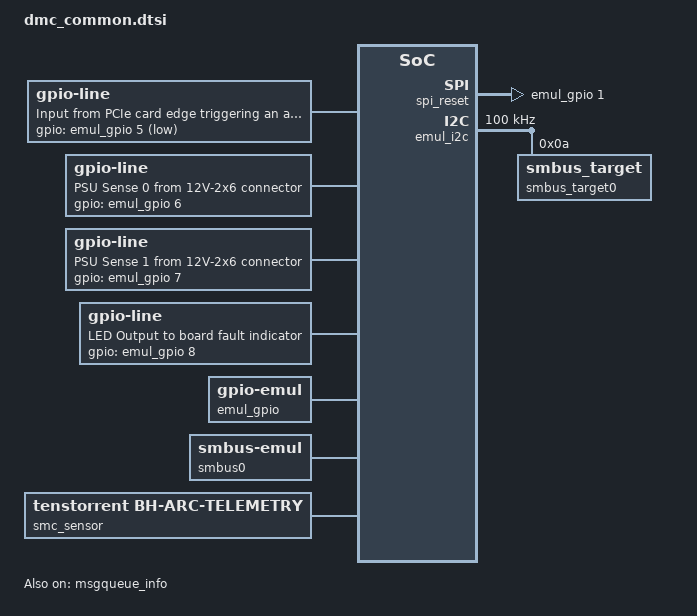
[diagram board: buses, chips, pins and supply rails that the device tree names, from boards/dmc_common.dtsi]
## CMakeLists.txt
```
# SPDX-License-Identifier: Apache-2.0

cmake_minimum_required(VERSION 3.20.0)
find_package(Zephyr REQUIRED HINTS $ENV{ZEPHYR_BASE})

include(${CMAKE_CURRENT_LIST_DIR}/../../cmake/git_version.cmake)

project(dmc)

FILE(GLOB app_sources src/*.c)
target_sources(app PRIVATE ${app_sources})
if(CONFIG_TT_QSFP)
  FILE(GLOB qsfp_sources src/qsfp/*.c)
  target_sources(app PRIVATE ${qsfp_sources})
endif()
target_include_directories(app PRIVATE ../../include)

# status_reg.h is SoC-owned; DMC SOC_FULL_DIR is STM32, so add Blackhole include/.
target_include_directories(app PRIVATE
  ${CMAKE_CURRENT_LIST_DIR}/../../soc/tenstorrent/tt_blackhole/include)
```

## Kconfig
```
# Copyright (c) 2025 Tenstorrent AI ULC
# SPDX-License-Identifier: Apache-2.0

config DMC_RUN_SMBUS_TESTS
	bool "Run SMBUS Tests"
	help
	  Run SMBUS tests on the DMC at boot time. This can be used to verify
	  functionality of the SMBUS interface.

config DMC_CLK_GEN_RC22504A
	bool "Program RC22504A clock generator at boot"
	depends on I2C && GPIO
	default y if BOARD_TT_BLACKHOLE_GLX2_DMC
	help
	  Program the Renesas RC22504A clock generator (I2C1, address 0x09)
	  before the JTAG bootrom sequence, then wait for its LOCK output
	  (devicetree node "clk_gen_lock") to assert.

source "Kconfig.zephyr"
```

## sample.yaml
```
sample:
  name: DMFW
common:
  sysbuild: true
  platform_allow:
    - tt_blackhole@p100a/tt_blackhole/dmc
    - tt_blackhole@p150a/tt_blackhole/dmc
    - tt_blackhole@p300a/tt_blackhole/dmc
    - tt_blackhole@orion_slt/tt_blackhole/dmc
  harness: console
  harness_config:
    type: one_line
    regex:
      - "DMFW VERSION (.*)"
tests:
  sample.app:
    extra_configs:
      - CONFIG_DMC_RUN_SMBUS_TESTS=y
    tags: e2e
  sample.app.native_sim_build:
    platform_allow:
      - native_sim
    sysbuild: false
    build_only: true
    tags:
      - build
      - native_sim
      - build-ci
```

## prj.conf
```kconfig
CONFIG_JTAG=y
CONFIG_TT_BH_CHIP=y
CONFIG_TT_JTAG_BOOTROM=y
CONFIG_JTAG_LOAD_ON_PRESET=y
CONFIG_GPIO=y

CONFIG_COMMON_LIBC_MALLOC=n

# create build/zephyr/zephyr.lst
CONFIG_OUTPUT_DISASSEMBLY=y

CONFIG_MFD=y
CONFIG_PWM=y
CONFIG_SENSOR=y

CONFIG_I2C=y
CONFIG_SMBUS=y
CONFIG_SMBUS_INIT_PRIORITY=60

CONFIG_JTAG_LOAD_BOOTROM=y

# For firmware udpates
CONFIG_TT_BIST=y
CONFIG_TT_BOOT_FS=y
CONFIG_IMG_MANAGER=y
CONFIG_FLASH=y
CONFIG_FLASH_MAP=y
CONFIG_STREAM_FLASH=y
CONFIG_REBOOT=y

# Disable printing the default Zephyr boot banner
CONFIG_BOOT_BANNER=n
# Print the Tenstorrent boot banner + git version on startup
CONFIG_TT_BOOT_BANNER=y
CONFIG_TT_BOOT_BANNER_SDK_VERSION=y

# k_event APIs
CONFIG_EVENTS=y
CONFIG_TT_EVENT=y

# additional stack space for the main thread
CONFIG_MAIN_STACK_SIZE=4096

# Enable ringbuf logging backend
CONFIG_LOG=y
CONFIG_LOG_BACKEND_RINGBUF=y
# Raise buffer size to hold more log messages
CONFIG_LOG_BACKEND_RINGBUF_BUFFER_SIZE=3072
# Overwrite old messages when the buffer is full
CONFIG_LOG_BACKEND_RINGBUF_MODE_OVERWRITE=y

# Binary descriptors for firmware version
CONFIG_BINDESC=y
CONFIG_BINDESC_DEFINE=y
CONFIG_BINDESC_DEFINE_VERSION=y
CONFIG_BINDESC_APP_VERSION_STRING=y
CONFIG_TT_BINDESC=y
```

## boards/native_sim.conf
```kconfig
# Native simulator requires emulation framework for i2c@100
CONFIG_EMUL=y
CONFIG_I2C_EMUL=y
CONFIG_GPIO_EMUL=y
CONFIG_SPI=y
CONFIG_SPI_EMUL=y

# SMBus support for simulator (using emulated SMBus on emulated I2C)
CONFIG_SMBUS=y
CONFIG_SMBUS_EMUL=y
CONFIG_I2C_TARGET=y
CONFIG_SMBUS_TARGET=y
CONFIG_CRC=y
CONFIG_TT_BH_ARC=y
CONFIG_CLOCK_CONTROL=y
CONFIG_CLOCK_CONTROL_EMUL=y
CONFIG_RESET=y
CONFIG_SENSOR_ASYNC_API=y
CONFIG_WATCHDOG=y
CONFIG_WDT_TT_BH=y

# Shell requires an explicit backend; native_sim works with serial console.
CONFIG_CONSOLE=y
CONFIG_SERIAL=y
CONFIG_UART_CONSOLE=y
CONFIG_SHELL=y
CONFIG_SHELL_BACKEND_SERIAL=y
CONFIG_SHELL_LOG_BACKEND=n
CONFIG_SHELL_PROMPT_UART="sim-tt:~$ "
CONFIG_DEBUG=y
CONFIG_CBPRINTF_FP_SUPPORT=y
#CONFIG_ASSERT=y

CONFIG_TT_BIST=n
```

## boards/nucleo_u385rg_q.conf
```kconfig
# Nucleo U385RG-Q: mirror native_sim DMC setup with emulated BH ARC plumbing.
CONFIG_EMUL=y
CONFIG_I2C_EMUL=y
CONFIG_GPIO_EMUL=y
CONFIG_SPI=y
CONFIG_SPI_EMUL=y

# SMBus support
CONFIG_SMBUS=y
CONFIG_SMBUS_EMUL=y
CONFIG_I2C_TARGET=y
CONFIG_SMBUS_TARGET=y
CONFIG_CRC=y

# Use real bh_arc command path
CONFIG_TT_BH_ARC=y
CONFIG_TT_BH_ARC_EMUL=y
CONFIG_CLOCK_CONTROL=y
CONFIG_CLOCK_CONTROL_EMUL=y
CONFIG_RESET=y
CONFIG_SENSOR_ASYNC_API=y
CONFIG_WATCHDOG=y
CONFIG_WDT_TT_BH=y

# Keep console/shell on the board's default UART routing.
CONFIG_CONSOLE=y
CONFIG_SERIAL=y
CONFIG_UART_CONSOLE=y
CONFIG_SHELL=y
CONFIG_SHELL_BACKEND_SERIAL=y
CONFIG_SHELL_LOG_BACKEND=y
# CONFIG_LOG_BACKEND_RINGBUF=n

CONFIG_TT_BIST=n
```

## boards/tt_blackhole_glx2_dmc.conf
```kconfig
# Copyright (c) 2026 Tenstorrent AI ULC
# SPDX-License-Identifier: Apache-2.0

# GLX2 board does not have max6639 fan controller, so disable MFD and PWM
CONFIG_MFD=n
CONFIG_PWM=n

CONFIG_BOOTLOADER_MCUBOOT=y
CONFIG_MCUBOOT_SIGNATURE_KEY_FILE="bootloader/mcuboot/root-rsa-2048.pem"
```

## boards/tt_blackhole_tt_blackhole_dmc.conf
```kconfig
CONFIG_JTAG_USE_MMAPPED_IO=y

# Enable Clocks
CONFIG_CLOCK_CONTROL=y

# enable pin controller
CONFIG_PINCTRL=y

# enable external spi flash
CONFIG_SPI=y
CONFIG_SPI_STM32_INTERRUPT=y

# enable sensor
CONFIG_SENSOR=y
# Set i2c timeout
CONFIG_I2C_TRANSFER_TIMEOUT_MS=64

CONFIG_BOOTLOADER_MCUBOOT=y
CONFIG_MCUBOOT_SIGNATURE_KEY_FILE="bootloader/mcuboot/root-rsa-2048.pem"
# To debug firmware updates
#CONFIG_LOG=y
#CONFIG_LOG_PRINTK=y
#CONFIG_LOG_MODE_IMMEDIATE=y
#CONFIG_TT_APP_LOG_LEVEL_DBG=y
# Debug logging might consume more stack than usual
#CONFIG_MAIN_STACK_SIZE=10240
#CONFIG_SEGGER_RTT_BUFFER_SIZE_UP=4096
# Never block whey trying to write logs
#CONFIG_LOG_BACKEND_RTT_MODE_OVERWRITE=y
```

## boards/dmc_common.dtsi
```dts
/*
 * Copyright (c) 2026 Tenstorrent AI ULC
 *
 * SPDX-License-Identifier: Apache-2.0
 */

#include <zephyr/dt-bindings/gpio/gpio.h>
#include <zephyr/dt-bindings/i2c/i2c.h>

/ {
	aliases {
		dmc-vuart = &DMC_VUART;
	};

	fwtable: fwtable {
		compatible = "tenstorrent,bh-fwtable";
		status = "okay";
		flash-dev = DMC_FLASH_DEV;
	};

	efuse: efuse {
		compatible = "tenstorrent,bh-efuse-emul";
		status = "okay";
	};

	pll0: pll0 {
		compatible = "tenstorrent,clock-control-emul";
		status = "okay";
	};

	pll1: pll1 {
		compatible = "tenstorrent,clock-control-emul";
		status = "okay";
	};

	pll4: pll4 {
		compatible = "tenstorrent,clock-control-emul";
		status = "okay";
	};

	dma1: noc_dma {
		status = "okay";
	};

	pvt: pvt {
		compatible = "tenstorrent,bh-pvt-emul";
		num_pd = <16>;
		num_vm = <8>;
		num_ts = <8>;
		pd-raw = <15300>; /* ~1200 MHz */
		vm-raw = <11795>; /* ~0.95 V */
		ts-raw = <1142>;  /* ~25 C */
		status = "okay";
	};

	wdt0: wdt0 {
		compatible = "tenstorrent,bh-watchdog";
		status = "okay";
	};

	msgqueue_info: scratch-reg@8003042c {
		compatible = "tenstorrent,scratch-reg";
		reg = <0x8003042c 0x4>;
		status = "okay";
	};

	chip0: chip0 {
		compatible = "tenstorrent,bh-chip";

		jtag0: jtag {
			compatible = "zephyr,jtag-gpio";
			status = "okay";
			tck-gpios = <&emul_gpio 9 GPIO_ACTIVE_HIGH>;
			trst-gpios = <&emul_gpio 10 GPIO_ACTIVE_LOW>;
			tms-gpios = <&emul_gpio 11 GPIO_ACTIVE_HIGH>;
			tdo-gpios = <&emul_gpio 12 GPIO_PULL_UP>;
			tdi-gpios = <&emul_gpio 13 GPIO_ACTIVE_HIGH>;
			port-write-cycles = <2>;
		};

		asic_reset {
			compatible = "zephyr,gpio-line";
			label = "Line to asic reset";
			gpios = <&emul_gpio 0 GPIO_ACTIVE_LOW>;
		};

		spi_reset {
			compatible = "zephyr,gpio-line";
			label = "Line to spi reset";
			gpios = <&emul_gpio 1 GPIO_ACTIVE_LOW>;
		};

		pgood {
			compatible = "zephyr,gpio-line";
			label = "Power good indicator";
			gpios = <&emul_gpio 3 GPIO_PULL_DOWN>;
		};

		therm_trip {
			compatible = "zephyr,gpio-line";
			label = "Thermal trip indicator";
			gpios = <&emul_gpio 2 GPIO_ACTIVE_HIGH>;
		};

		spi_mux {
			compatible = "zephyr,gpio-line";
			label = "Line to spi mux";
			gpios = <&emul_gpio 4 GPIO_ACTIVE_LOW>;
		};

		arc = <&chip0_arc>;
	};

	chips {
		compatible = "tenstorrent,bh-chips";
		chips = <&chip0>;
		primary = <0>;
	};

	preset_trigger {
		compatible = "zephyr,gpio-line";
		label = "Input from PCIe card edge triggering an asic reset";
		gpios = <&emul_gpio 5 GPIO_ACTIVE_LOW>;
	};

	psu_sense0 {
		compatible = "zephyr,gpio-line";
		label = "PSU Sense 0 from 12V-2x6 connector";
		gpios = <&emul_gpio 6 GPIO_ACTIVE_HIGH>;
	};

	psu_sense1 {
		compatible = "zephyr,gpio-line";
		label = "PSU Sense 1 from 12V-2x6 connector";
		gpios = <&emul_gpio 7 GPIO_ACTIVE_HIGH>;
	};

	board_fault_led {
		compatible = "zephyr,gpio-line";
		label = "LED Output to board fault indicator";
		gpios = <&emul_gpio 8 GPIO_ACTIVE_HIGH>;
	};

	emul_gpio: emul_gpio {
		compatible = "zephyr,gpio-emul";
		status = "okay";
		gpio-controller;
		#gpio-cells = <2>;
		ngpios = <16>;
		rising-edge;
		falling-edge;
		high-level;
		low-level;
	};

	emul_i2c: i2c@100 {
		compatible = "zephyr,i2c-emul-controller";
		status = "okay";
		clock-frequency = <I2C_BITRATE_STANDARD>;
		#address-cells = <1>;
		#size-cells = <0>;
		reg = <0x100 0x4>;
	};

	smbus0: smbus0 {
		compatible = "zephyr,smbus-emul";
		#address-cells = <1>;
		#size-cells = <0>;
		i2c = <&emul_i2c>;
		status = "okay";

		chip0_arc: bh_arc@a {
			compatible = "tenstorrent,bh-arc";
			reg = <0xa>;
		};
	};

	smc_sensor: smc_sensor {
		compatible = "tenstorrent,bh-arc-telemetry";
		arc = <&chip0_arc>;
		status = "okay";

		temp {
			channel-type = <12>; /* SENSOR_CHAN_DIE_TEMP */
			channel-index = <0>;
			telemetry-tag = <11>;
		};

		tdp {
			channel-type = <45>; /* SENSOR_CHAN_POWER */
			channel-index = <0>;
			telemetry-tag = <7>;
		};
	};
};

&emul_i2c {
	smbus_target0: smbus@a {
		compatible = "zephyr,smbus_target";
		reg = <0xa>;
		status = "okay";
	};
};
```

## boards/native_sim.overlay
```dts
/*
 * Copyright (c) 2024 Tenstorrent AI ULC
 *
 * SPDX-License-Identifier: Apache-2.0
 */

#define DMC_VUART uart0
#define DMC_FLASH_DEV <&flashcontroller0>

#include "dmc_common.dtsi"
```

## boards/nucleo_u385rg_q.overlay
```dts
/*
 * Copyright (c) 2026 Tenstorrent AI ULC
 *
 * SPDX-License-Identifier: Apache-2.0
 */

#define DMC_VUART usart1
#define DMC_FLASH_DEV <&{/soc/flash-controller@40022000}>

#include "dmc_common.dtsi"

/* Include test sensor IDs for now. */
#include "../../../tests/drivers/pmci/pldm/include/tt_test_pldm_sensor_ids.h"

/* I3C1 target-side PLDM/MCTP configuration */
&i3c1 {
	pinctrl-0 = <&i3c1_scl_pb2 &i3c1_sda_pc1>;
	pinctrl-names = "default";
	status = "okay";
	target-mode;
	mipi-instance = <0x8>;
	dcr = <0xcc>;
};

/ {
	mctp_i3c_target: mctp_i3c_target {
		compatible = "zephyr,mctp-i3c-target";
		i3c = <&i3c1>;
		endpoint-id = <11>;
	};

	pldm_mctp_responder: pldm_mctp_responder {
		compatible = "tenstorrent,pldm-mctp-responder";
		mctp-target = <&mctp_i3c_target>;
		pdr = <&pldm_pdr>;
		oem-handler = <&pldm_shell>;
	};

	pldm_shell: pldm_shell {
		compatible = "tenstorrent,pldm-oem-handler";
		status = "okay";
	};

	pldm_pdr: pldm_pdr {
		compatible = "tenstorrent,pldm-pdr";
		status = "okay";

		asic_temp: asic_temp {
			compatible = "tenstorrent,pldm-numeric-sensor";
			sensor = <&smc_sensor>;
			channel-type = <12>;
			channel-index = <0>;
			sensor-id = <BH_PLDM_SENSOR_ID_ASIC_TEMP>;
			unit-modifier = <(-1)>;
		};

		tdp: tdp {
			compatible = "tenstorrent,pldm-numeric-sensor";
			sensor = <&smc_sensor>;
			channel-type = <45>;
			channel-index = <0>;
			sensor-id = <BH_PLDM_SENSOR_ID_TDP>;
		};
	};
};
```

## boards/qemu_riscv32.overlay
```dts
/*
 * Copyright (c) 2024 Tenstorrent AI ULC
 *
 * SPDX-License-Identifier: Apache-2.0
 */

#include <zephyr/dt-bindings/gpio/gpio.h>

/ {
	gpio0: gpio-emul {
		status = "okay";
		compatible = "zephyr,gpio-emul";
		rising-edge;
		falling-edge;
		high-level;
		low-level;
		gpio-controller;
		#gpio-cells = <2>;
	};

	jtag0: jtag {
		compatible = "zephyr,jtag-gpio";
		status = "okay";
		tck-gpios = <&gpio0 0 GPIO_ACTIVE_HIGH>;
		trst-gpios = <&gpio0 1 GPIO_ACTIVE_LOW>;
		tms-gpios = <&gpio0 2 GPIO_ACTIVE_HIGH>;
		tdo-gpios = <&gpio0 3 GPIO_PULL_UP>;
		tdi-gpios = <&gpio0 4 GPIO_ACTIVE_HIGH>;
		port-write-cycles = <2>;
	};

	/* ASIC reset line */
	mcureset {
		compatible = "zephyr,gpio-line";
		gpios = <&gpio0 5 GPIO_PULL_DOWN>;
	};

	/* Spi reset line */
	spireset {
		compatible = "zephyr,gpio-line";
		gpios = <&gpio0 6 GPIO_PULL_DOWN>;
	};

	/* Power good indicator */
	pgood {
		compatible = "zephyr,gpio-line";
		gpios = <&gpio0 8 GPIO_PULL_DOWN>;
	};

	/* Enable to select the arc jtag, disable to select rambus */
	arc_rambus_jtag_mux_sel: arc_rambus_jtag_mux_enable {
		compatible = "zephyr,gpio-line";
		gpios = <&gpio0 9 GPIO_ACTIVE_LOW>;
	};

	/* Enable to select the arc jtag, disable to select l2cpu */
	arc_l2_jtag_mux_sel: arc_l2_jtag_mux_enable {
		compatible = "zephyr,gpio-line";
		gpios = <&gpio0 10 GPIO_ACTIVE_LOW>;
	};
};
```

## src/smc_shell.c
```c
/*
 * Copyright (c) 2026 Tenstorrent AI ULC
 * SPDX-License-Identifier: Apache-2.0
 */

/*
 * Shell commands that run on the DMC and reach the SMC (ARC) over JTAG/AXI.
 * Useful for debugging when the SMC is not answering on I2C/SMBus.
 */

#include <stdlib.h>
#include <string.h>

#include <zephyr/drivers/gpio.h>
#include <zephyr/drivers/jtag.h>
#include <zephyr/kernel.h>
#include <zephyr/shell/shell.h>

#include <tenstorrent/bh_arc.h>
#include <tenstorrent/bh_chip.h>
#include <tenstorrent/tt_smbus_regs.h>
#include <tenstorrent/uart_tt_virt.h>

#include "status_reg.h"

#if defined(CONFIG_SHELL) && BH_CHIP_COUNT > 0

#define SCRATCH_REG_COUNT     8
#define SCRATCH_RAM_REG_COUNT 64
#define RD_MAX_WORDS          256
#define ARC_PC_CORE_0_ADDR    0x80030C00
#define VUART_MAGIC           0x775E21A1
#define VUART_MAX_INST        4
#define VUART_MAX_TX_CAP      16384
#define VUART_HDR_WORDS       (sizeof(struct tt_vuart) / sizeof(uint32_t))
#define VUART_LINE_MAX        160

static const struct {
	uint8_t idx;
	const char *name;
} scratch_ram_names[] = {
	{0, "FW_VERSION"},
	{2, "BOOT_STATUS0"},
	{3, "BOOT_STATUS1"},
	{4, "ERROR_STATUS0"},
	{5, "ERROR_STATUS1"},
	{6, "INTERFACE_TABLE_BASE"},
	{8, "MSG_Q_STATUS"},
	{9, "MSG_Q_ERR_FLAGS"},
	{10, "SPI_BUFFER_INFO"},
	{12, "TELEMETRY_DATA"},
	{13, "TELEMETRY_TABLE"},
	{14, "PCIE_INIT_CPL_TIME"},
	{15, "CMFW_START_TIME"},
	{16, "ARC_START_TIME"},
	{17, "PERST_TO_DMFW_INIT_DONE"},
	{18, "PING_DMFW_DURATION"},
	{19, "I2C0_TARGET_DEBUG_STATE"},
};

static const char *scratch_ram_name(unsigned int idx)
{
	for (size_t i = 0; i < ARRAY_SIZE(scratch_ram_names); i++) {
		if (scratch_ram_names[i].idx == idx) {
			return scratch_ram_names[i].name;
		}
	}
	return "";
}

/* Reads `count` consecutive 32-bit words starting at `addr` in a single JTAG session. */
static int smc_read_words(const struct shell *sh, uint32_t addr, uint32_t *out, size_t count)
{
	const struct device *jtag = BH_CHIPS[BH_CHIP_PRIMARY_INDEX].config.jtag;
	int ret = jtag_setup(jtag);

	if (ret != 0) {
		shell_error(sh, "jtag_setup failed: %d", ret);
		return ret;
	}

	jtag_reset(jtag);
	for (size_t i = 0; i < count; i++) {
		ret = jtag_axi_read32(jtag, addr + 4 * i, &out[i]);
		if (ret != 0) {
			shell_error(sh, "AXI read of 0x%08zx failed: %d", (size_t)addr + 4 * i,
				    ret);
			break;
		}
	}
	jtag_teardown(jtag);

	return ret;
}

static int cmd_smc_scratch(const struct shell *sh, size_t argc, char **argv)
{
	uint32_t regs[SCRATCH_REG_COUNT];
	uint32_t ram[SCRATCH_RAM_REG_COUNT];
	bool all = argc > 1 && strcmp(argv[1], "all") == 0;
	int ret;

	ret = smc_read_words(sh, RESET_UNIT_SCRATCH_BASE_ADDR, regs, ARRAY_SIZE(regs));
	if (ret != 0) {
		return ret;
	}

	shell_print(sh, "SCRATCH[0-7] @ 0x%08x", RESET_UNIT_SCRATCH_BASE_ADDR);
	for (size_t i = 0; i < ARRAY_SIZE(regs); i++) {
		shell_print(sh, "  [%zu] 0x%08x%s", i, regs[i],
			    i == 0   ? "  (POST_CODE)"
			    : i == 1 ? "  (CABLE_POWER_LIMIT)"
				     : "");
	}

	ret = smc_read_words(sh, RESET_UNIT_SCRATCH_RAM_BASE_ADDR, ram, ARRAY_SIZE(ram));
	if (ret != 0) {
		return ret;
	}

	shell_print(sh, "SCRATCH_RAM[0-63] @ 0x%08x", RESET_UNIT_SCRATCH_RAM_BASE_ADDR);
	for (size_t i = 0; i < ARRAY_SIZE(ram); i++) {
		const char *name = scratch_ram_name(i);

		if (all || ram[i] != 0 || name[0] != '\0') {
			shell_print(sh, "  [%2zu] 0x%08x  %s", i, ram[i], name);
		}
	}

	uint32_t pc;

	if (smc_read_words(sh, ARC_PC_CORE_0_ADDR, &pc, 1) == 0) {
		shell_print(sh, "ARC PC core0 @ 0x%08x: 0x%08x", ARC_PC_CORE_0_ADDR, pc);
	}

	return 0;
}

static int cmd_smc_rd(const struct shell *sh, size_t argc, char **argv)
{
	static uint32_t buf[RD_MAX_WORDS];
	uint32_t addr = strtoul(argv[1], NULL, 0);
	size_t count = argc > 2 ? strtoul(argv[2], NULL, 0) : 1;

	if (count == 0 || count > RD_MAX_WORDS || (addr & 3) != 0) {
		shell_error(sh, "addr must be 4-byte aligned, count 1..%d", RD_MAX_WORDS);
		return -EINVAL;
	}

	int ret = smc_read_words(sh, addr, buf, count);

	if (ret != 0) {
		return ret;
	}

	for (size_t i = 0; i < count; i++) {
		shell_print(sh, "0x%08zx: 0x%08x", (size_t)addr + 4 * i, buf[i]);
	}

	return 0;
}

/*
 * Dumps the SMC's virtual UART transmit ring (its console output) over JTAG. The descriptor
 * address is published by the SMC in STATUS_FW_VUART_REG_ADDR(inst). By default the whole ring
 * history is printed (up to tx_cap bytes ending at tx_tail), including text a host may already
 * have consumed; "new" limits it to the unread bytes between tx_head and tx_tail.
 */
static int cmd_smc_vuart(const struct shell *sh, size_t argc, char **argv)
{
	static uint32_t ring[VUART_MAX_TX_CAP / sizeof(uint32_t)];
	uint32_t hdr[VUART_HDR_WORDS];
	unsigned long inst = 0;
	bool unread_only = false;
	uint32_t desc;
	int ret;

	for (size_t i = 1; i < argc; i++) {
		if (strcmp(argv[i], "new") == 0) {
			unread_only = true;
		} else {
			char *end;

			inst = strtoul(argv[i], &end, 0);
			if (*end != '\0' || inst >= VUART_MAX_INST) {
				shell_error(sh, "inst must be 0..%d", VUART_MAX_INST - 1);
				return -EINVAL;
			}
		}
	}

	ret = smc_read_words(sh, STATUS_FW_VUART_REG_ADDR(inst), &desc, 1);
	if (ret != 0) {
		return ret;
	}
	if (desc == 0 || (desc & 3) != 0) {
		shell_error(sh, "vuart%lu: no descriptor published (SCRATCH_RAM[%lu] = 0x%08x)",
			    inst, 40 + inst, desc);
		return -ENODEV;
	}

	ret = smc_read_words(sh, desc, hdr, ARRAY_SIZE(hdr));
	if (ret != 0) {
		return ret;
	}

	const struct tt_vuart *v = (const struct tt_vuart *)hdr;

	shell_print(sh,
		    "vuart%lu @ 0x%08x: magic=0x%08x ver=0x%08x tx_cap=%u head=%u tail=%u "
		    "oflow=%u rx_cap=%u",
		    inst, desc, v->magic, v->version, v->tx_cap, v->tx_head, v->tx_tail,
		    v->tx_oflow, v->rx_cap);

	if (v->magic != VUART_MAGIC) {
		shell_error(sh, "bad magic (expected 0x%08x)", VUART_MAGIC);
		return -EIO;
	}
	if (v->tx_cap == 0 || v->tx_cap > VUART_MAX_TX_CAP) {
		shell_error(sh, "tx_cap %u unsupported (max %d)", v->tx_cap, VUART_MAX_TX_CAP);
		return -EIO;
	}

	uint32_t avail = unread_only ? tt_vuart_buf_size(v->tx_head, v->tx_tail)
				     : MIN(v->tx_tail, v->tx_cap);

	avail = MIN(avail, v->tx_cap);
	if (avail == 0) {
		shell_print(sh, "(empty)");
		return 0;
	}

	ret = smc_read_words(sh, desc + sizeof(struct tt_vuart), ring,
			     DIV_ROUND_UP(v->tx_cap, sizeof(uint32_t)));
	if (ret != 0) {
		return ret;
	}

	const uint8_t *bytes = (const uint8_t *)ring;
	char line[VUART_LINE_MAX + 1];
	size_t len = 0;

	shell_print(sh, "----- %u bytes -----", avail);
	for (uint32_t pos = v->tx_tail - avail; pos != v->tx_tail; pos++) {
		char c = bytes[pos % v->tx_cap];

		if (c == '\r') {
			continue;
		}
		if (c == '\n' || len == VUART_LINE_MAX) {
			line[len] = '\0';
			shell_print(sh, "%s", line);
			len = 0;
			if (c == '\n') {
				continue;
			}
		}
		line[len++] = (c == '\t' || (c >= 0x20 && c < 0x7f)) ? c : '.';
	}
	if (len > 0) {
		line[len] = '\0';
		shell_print(sh, "%s", line);
	}
	shell_print(sh, "-----");

	return 0;
}

static int cmd_smc_pgood(const struct shell *sh, size_t argc, char **argv)
{
	ARG_UNUSED(argc);
	ARG_UNUSED(argv);

	for (size_t i = 0; i < BH_CHIP_COUNT; i++) {
		const struct bh_chip *chip = &BH_CHIPS[i];

		shell_print(sh,
			    "chip%zu: pgood=%d severe_fault=%d fall_pending=%d rise_pending=%d "
			    "last_trip_ms=%lld uptime_ms=%lld",
			    i, gpio_pin_get_dt(&chip->config.pgood), chip->data.pgood_severe_fault,
			    chip->data.pgood_fall_triggered, chip->data.pgood_rise_triggered,
			    chip->data.pgood_last_trip_ms, k_uptime_get());
	}

	return 0;
}

/* Reads CMFW_SMBUS_PING_V2 over SMBus; a live SMC answers 0xA5A5. */
static int cmd_smc_ping(const struct shell *sh, size_t argc, char **argv)
{
	size_t first = 0;
	size_t last = BH_CHIP_COUNT - 1;
	int result = 0;

	if (argc > 1) {
		char *end;
		unsigned long idx = strtoul(argv[1], &end, 0);

		if (*end != '\0' || idx >= BH_CHIP_COUNT) {
			shell_error(sh, "chip must be 0..%d", BH_CHIP_COUNT - 1);
			return -EINVAL;
		}
		first = idx;
		last = idx;
	}

	for (size_t i = first; i <= last; i++) {
		uint16_t data = 0;
		int64_t start = k_uptime_get();
		int ret = bharc_smbus_word_data_read(&BH_CHIPS[i].config.arc, CMFW_SMBUS_PING_V2,
						     &data);
		int64_t elapsed = k_uptime_delta(&start);

		if (ret != 0) {
			shell_error(sh, "chip%zu: no response (%d) after %lld ms", i, ret, elapsed);
			result = ret;
		} else if (data != 0xA5A5) {
			shell_error(sh, "chip%zu: unexpected response 0x%04x (expected 0xa5a5)", i,
				    data);
			result = -EIO;
		} else {
			shell_print(sh, "chip%zu: SMC alive (0x%04x) in %lld ms", i, data, elapsed);
		}
	}

	return result;
}

SHELL_STATIC_SUBCMD_SET_CREATE(
	sub_smc,
	SHELL_CMD(pgood, NULL, "Show DMC pgood state and severe-fault latch", cmd_smc_pgood),
	SHELL_CMD_ARG(ping, NULL,
		      "Ping the SMC over SMBus (CMFW_SMBUS_PING_V2)\n"
		      "usage: smc ping [chip]   (default: all chips)",
		      cmd_smc_ping, 1, 1),
	SHELL_CMD_ARG(scratch, NULL,
		      "Read SMC scratch registers over JTAG\n"
		      "usage: smc scratch [all]   (all also shows zero SCRATCH_RAM entries)",
		      cmd_smc_scratch, 1, 1),
	SHELL_CMD_ARG(rd, NULL,
		      "Read SMC AXI address over JTAG\n"
		      "usage: smc rd <addr> [count]",
		      cmd_smc_rd, 2, 1),
	SHELL_CMD_ARG(vuart, NULL,
		      "Dump SMC virtual UART (console) output over JTAG\n"
		      "usage: smc vuart [inst] [new]   (inst 0 = console, 2 = DMC; "
		      "new = unread bytes only)",
		      cmd_smc_vuart, 1, 2),
	SHELL_SUBCMD_SET_END);

SHELL_CMD_REGISTER(smc, &sub_smc, "SMC access over JTAG", NULL);

#endif /* CONFIG_SHELL && BH_CHIP_COUNT > 0 */
```
